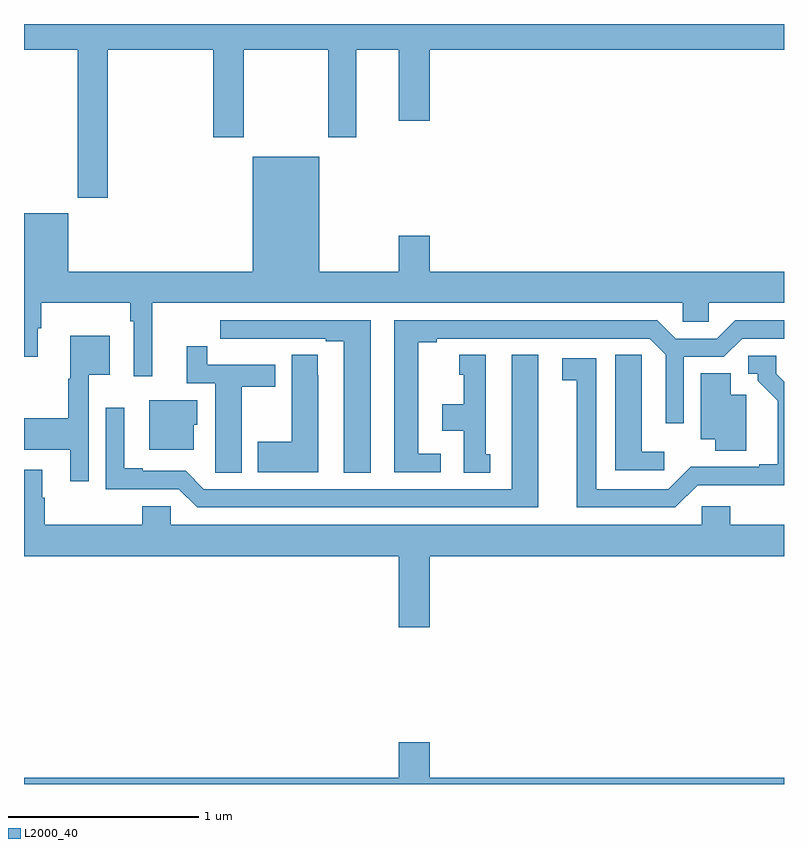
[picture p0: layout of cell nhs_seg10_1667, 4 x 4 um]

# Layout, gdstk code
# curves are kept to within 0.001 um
import gdstk
lib = gdstk.Library(unit=1e-6, precision=1e-09)
def P(c, l, *ps):  # polygons
    for p in ps: c.add(gdstk.Polygon(p, *l))
L2000_40 = (2000, 40)

nhs_seg10_1667 = lib.new_cell('nhs_seg10_1667')
P(nhs_seg10_1667, L2000_40, [(199.442,1252.364),(199.997,1252.364),(199.997,1251.903),(200.157,1251.903),(200.157,1252.364),(200.602,1252.364),(200.602,1251.903),(200.749,1251.903),(200.749,1252.364),(200.972,1252.364),(200.972,1251.99),(201.136,1251.99),(201.136,1252.364),(203,1252.364),(203,1252.5),(199,1252.5),(199,1252.364),(199.282,1252.364),(199.282,1251.585),(199.442,1251.585)],
  [(199.676,1251.032),(202.467,1251.032),(202.467,1250.934),(202.605,1250.934),(202.605,1251.032),(203,1251.032),(203,1251.196),(201.136,1251.196),(201.136,1251.385),(200.972,1251.385),(200.972,1251.196),(200.554,1251.196),(200.554,1251.802),(200.204,1251.802),(200.204,1251.196),(199.234,1251.196),(199.234,1251.505),(199,1251.505),(199,1250.748),(199.072,1250.748),(199.072,1250.898),(199.091,1250.898),(199.091,1251.032),(199.558,1251.032),(199.558,1250.936),(199.578,1250.936),(199.578,1250.646),(199.676,1250.646)],
  [(200.824,1250.94),(200.034,1250.94),(200.034,1250.844),(200.146,1250.844),(200.146,1250.843),(200.312,1250.843),(200.312,1250.844),(200.588,1250.844),(200.588,1250.829),(200.684,1250.829),(200.684,1250.137),(200.824,1250.137)],
  [(201.193,1250.238),(201.076,1250.238),(201.076,1250.824),(201.172,1250.824),(201.172,1250.844),(202.293,1250.844),(202.377,1250.76),(202.377,1250.4),(202.473,1250.4),(202.473,1250.748),(202.683,1250.748),(202.779,1250.844),(203,1250.844),(203,1250.94),(202.743,1250.94),(202.647,1250.844),(202.429,1250.844),(202.333,1250.94),(200.948,1250.94),(200.948,1250.142),(201.193,1250.142)],
  [(199.341,1250.654),(199.45,1250.654),(199.45,1250.86),(199.244,1250.86),(199.244,1250.634),(199.233,1250.634),(199.233,1250.424),(199,1250.424),(199,1250.258),(199.244,1250.258),(199.244,1250.094),(199.341,1250.094)],
  [(200.146,1250.59),(200.323,1250.59),(200.323,1250.706),(199.964,1250.706),(199.964,1250.803),(199.856,1250.803),(199.856,1250.61),(200.006,1250.61),(200.006,1250.248),(200.007,1250.248),(200.007,1250.137),(200.146,1250.137)],
  [(200.548,1250.651),(200.547,1250.651),(200.547,1250.759),(200.408,1250.759),(200.408,1250.301),(200.231,1250.301),(200.231,1250.141),(200.548,1250.141)],
  [(202.369,1250.248),(202.252,1250.248),(202.252,1250.651),(202.251,1250.651),(202.251,1250.759),(202.112,1250.759),(202.112,1250.151),(202.369,1250.151)],
  [(201.454,1250.235),(201.43,1250.235),(201.43,1250.758),(201.29,1250.758),(201.29,1250.655),(201.314,1250.655),(201.314,1250.5),(201.2,1250.5),(201.2,1250.36),(201.314,1250.36),(201.314,1250.137),(201.454,1250.137)],
  [(201.706,1250.758),(201.566,1250.758),(201.566,1250.052),(199.947,1250.052),(199.851,1250.148),(199.624,1250.148),(199.624,1250.161),(199.528,1250.161),(199.528,1250.479),(199.431,1250.479),(199.431,1250.052),(199.815,1250.052),(199.911,1249.956),(201.706,1249.956)],
  [(202.545,1250.073),(203,1250.072),(203,1250.617),(202.959,1250.658),(202.959,1250.754),(202.812,1250.754),(202.812,1250.658),(202.862,1250.658),(202.862,1250.623),(202.967,1250.518),(202.967,1250.182),(202.871,1250.182),(202.871,1250.169),(202.51,1250.17),(202.392,1250.052),(202.012,1250.052),(202.012,1250.742),(201.834,1250.742),(201.834,1250.626),(201.908,1250.626),(201.908,1249.956),(202.428,1249.956)],
  [(202.801,1250.548),(202.72,1250.548),(202.72,1250.663),(202.562,1250.663),(202.562,1250.315),(202.637,1250.315),(202.637,1250.254),(202.801,1250.254)],
  [(199.894,1250.391),(199.912,1250.391),(199.912,1250.521),(199.658,1250.521),(199.658,1250.258),(199.894,1250.258)],
  [(201.136,1249.7),(203,1249.7),(203,1249.864),(202.718,1249.864),(202.718,1249.962),(202.566,1249.962),(202.566,1249.864),(199.773,1249.864),(199.773,1249.962),(199.622,1249.962),(199.622,1249.864),(199.109,1249.864),(199.109,1250.006),(199.096,1250.006),(199.096,1250.155),(199,1250.155),(199,1249.7),(200.972,1249.7),(200.972,1249.326),(201.136,1249.326)],
  [(203,1248.532),(201.136,1248.532),(201.136,1248.721),(200.972,1248.721),(200.972,1248.532),(199,1248.532),(199,1248.5),(203,1248.5)])

lib.write_gds('nhs_seg10_1667.gds')
